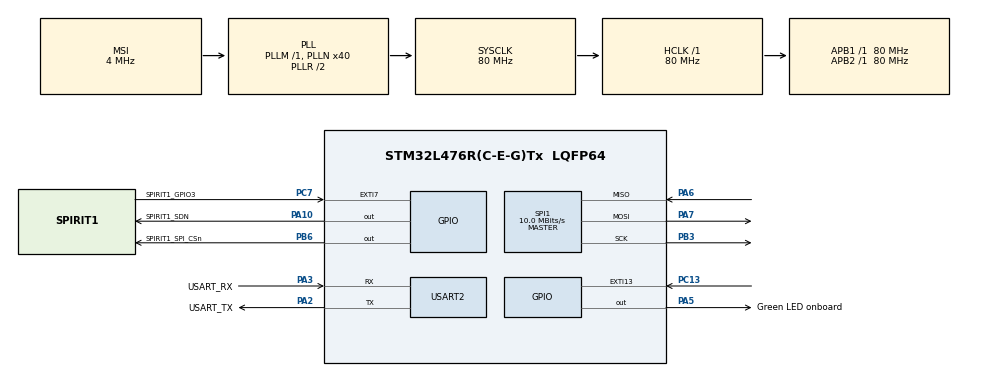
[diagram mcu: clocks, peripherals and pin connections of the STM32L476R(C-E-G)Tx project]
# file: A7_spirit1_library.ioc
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FREERTOS.Tasks01=defaultTask,24,128,StartDefaultTask,Default,NULL,Dynamic,NULL,NULL
FREERTOS.configENABLE_FPU=1
FREERTOS.configGENERATE_RUN_TIME_STATS=1
FREERTOS.configUSE_NEWLIB_REENTRANT=1
Mcu.Family=STM32L4
Mcu.Name=STM32L476R(C-E-G)Tx
Mcu.Package=LQFP64
NVIC.EXTI15_10_IRQn=true\:7\:0\:true\:false\:true\:true\:true\:true\:true
NVIC.EXTI9_5_IRQn=true\:6\:0\:true\:false\:true\:true\:true\:true\:true
NVIC.PriorityGroup=NVIC_PRIORITYGROUP_4
NVIC.TIM1_UP_TIM16_IRQn=true\:15\:0\:false\:false\:true\:false\:false\:true\:true
NVIC.TimeBase=TIM1_UP_TIM16_IRQn
NVIC.TimeBaseIP=TIM16
PA10.GPIO_Label=SPIRIT1_SDN
PA10.Signal=GPIO_Output
PA2.GPIO_Label=USART_TX
PA2.Mode=Asynchronous
PA2.Signal=USART2_TX
PA3.GPIO_Label=USART_RX
PA3.Mode=Asynchronous
PA3.Signal=USART2_RX
PA5.GPIO_Label=Green LED onboard
PA5.Signal=GPIO_Output
PA6.Mode=Full_Duplex_Master
PA6.Signal=SPI1_MISO
PA7.Mode=Full_Duplex_Master
PA7.Signal=SPI1_MOSI
PB3\ (JTDO-TRACESWO).Mode=Full_Duplex_Master
PB3\ (JTDO-TRACESWO).Signal=SPI1_SCK
PB6.GPIO_Label=SPIRIT1_SPI_CSn
PB6.Signal=GPIO_Output
PC13.Signal=GPXTI13
PC7.GPIO_Label=SPIRIT1_GPIO3
PC7.GPIO_ModeDefaultEXTI=GPIO_MODE_IT_FALLING
PC7.Signal=GPXTI7
ProjectManager.HeapSize=0x200
ProjectManager.StackSize=0x400
ProjectManager.TargetToolchain=STM32CubeIDE
RCC.AHBFreq_Value=80000000
RCC.APB1Freq_Value=80000000
RCC.APB1TimFreq_Value=80000000
RCC.APB2Freq_Value=80000000
RCC.APB2TimFreq_Value=80000000
RCC.CortexFreq_Value=80000000
RCC.HCLKFreq_Value=80000000
RCC.HSE_VALUE=8000000
RCC.HSI_VALUE=16000000
RCC.LSE_VALUE=32768
RCC.MSI_VALUE=4000000
RCC.PLLN=40
RCC.SYSCLKFreq_VALUE=80000000
RCC.SYSCLKSource=RCC_SYSCLKSOURCE_PLLCLK
RCC.VCOOutputFreq_Value=160000000
SPI1.BaudRatePrescaler=SPI_BAUDRATEPRESCALER_8
SPI1.CalculateBaudRate=10.0 MBits/s
SPI1.DataSize=SPI_DATASIZE_8BIT
SPI1.Direction=SPI_DIRECTION_2LINES
SPI1.Mode=SPI_MODE_MASTER
SPI1.VirtualType=VM_MASTER
USART2.VirtualMode-Asynchronous=VM_ASYNC
VP_FREERTOS_VS_CMSIS_V2.Mode=CMSIS_V2
VP_SYS_VS_tim16.Mode=TIM16
board=custom

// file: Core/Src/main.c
/* USER CODE BEGIN Header */
/**
  ******************************************************************************
  * @file           : main.c
  * @brief          : Main program body
  ******************************************************************************
  * @attention
  *
  * Copyright (c) 2024 STMicroelectronics.
  * All rights reserved.
  *
  * This software is licensed under terms that can be found in the LICENSE file
  * in the root directory of this software component.
  * If no LICENSE file comes with this software, it is provided AS-IS.
  *
  ******************************************************************************
  */
/* USER CODE END Header */
#include "main.h"
#include "cmsis_os.h"
#include "spi.h"
#include "usart.h"
#include "gpio.h"

/* USER CODE BEGIN Includes */
#include "SPIRIT_Config.h" // API code for the expansion board
#include "spsgrf.h" //init code for the wireless module
#include <stdlib.h>
#include <stdio.h>
#include <string.h>
#include <stdarg.h>

#include "semphr.h"                     // ARM.FreeRTOS::RTOS:Core

/* FREERTOS Tasks, Semaphores, and Variables  ------------------------------------*/
void Task_TX(void *argument);
void Task_printUsers(void *argument);
void Task_RX(void *argument);

TaskHandle_t Task_TXHandler, Task_printUsersHandler, Task_RXHandler;
SemaphoreHandle_t FLAG_SPIRIT;

void RTOS_ISR_setPriority(uint32_t IRQn){
	HAL_NVIC_SetPriorityGrouping(0);
	uint32_t lowPriority = NVIC_EncodePriority(0, 10, 0);
	//DMA1_Channel3_IRQn
	NVIC_SetPriority(IRQn, lowPriority);
}

typedef struct User{
	char username[20];
	unsigned int address;
	long timeLastSeen;
} User;

char myUsername[] = "kwiksckoped";
TickType_t startTime;

struct User usersOnline[256];

/* USER CODE END Includes */

void SystemClock_Config(void);
void MX_FREERTOS_Init(void);

/* USER CODE BEGIN 0 */

void myHAL_UART_printf(const char* format, ...) {
	va_list args;
	va_start(args, format);

	// Allocate temporary buffer for formatted string
	static char buffer[1024]; // Adjust buffer size as needed
	int formatted_length = vsnprintf(buffer, sizeof(buffer), format, args);

	// Check for potential buffer overflow (optional)
	if (formatted_length >= sizeof(buffer)) {
		// Handle buffer overflow (e.g., print error message)
		while(1);
	} else {
		// Print the formatted string
		HAL_UART_Transmit(&huart2, buffer, formatted_length, HAL_MAX_DELAY);
	}

	va_end(args);
}

void myHAL_UART_clear(){
	char clear[] = "\x1B[2J\x1B[0m\x1B[H"; // clear
	HAL_UART_Transmit(&huart2, clear, strlen(clear), 100);

}

volatile SpiritFlagStatus xTxDoneFlag;
volatile SpiritFlagStatus xRxDoneFlag;

void HAL_GPIO_EXTI_Callback(uint16_t GPIO_Pin)
{
  SpiritIrqs xIrqStatus;
  BaseType_t xHigherPriorityTaskWoken = pdFALSE;

  if (GPIO_Pin != SPIRIT1_GPIO3_Pin){return;}

  SpiritIrqGetStatus(&xIrqStatus);
//	myHAL_UART_printf("int\r\n");

  if (xIrqStatus.IRQ_TX_DATA_SENT)
  {
//		myHAL_UART_printf("data sent\r\n");
	  confirm_TX();
	  xSemaphoreGiveFromISR(FLAG_SPIRIT, &xHigherPriorityTaskWoken);
  }

  if (xIrqStatus.IRQ_RX_DATA_READY)
  {
//    xRxDoneFlag = S_SET;
	  myHAL_UART_printf("data received\r\n");

	  get_RX();
	  xSemaphoreGiveFromISR(FLAG_SPIRIT, &xHigherPriorityTaskWoken);
  }

  if (xIrqStatus.IRQ_RX_DATA_DISC)
  {
	myHAL_UART_printf("  | || || |_\r\n");
//	get_RX();
//    SpiritCmdStrobeRx();
  }

  if (xIrqStatus.IRQ_RX_TIMEOUT){
	myHAL_UART_printf("timeout\r\n");
//	xSemaphoreGiveFromISR(FLAG_SPIRIT, &xHigherPriorityTaskWoken);
//	SpiritCmdStrobeRx();
  }

  SpiritIrqClearStatus();
  portYIELD_FROM_ISR(xHigherPriorityTaskWoken);
}

//void receive(){
//	  char RXpayload[] = "Hello World!\r\n";
//	  uint8_t rxLen;
//
////	  char clear[] = "\x1B[2J\x1B[0m"; // clear
////
////		HAL_UART_Transmit(&huart2, clear, 9, 100);
//	//	HAL_UART_Transmit(&huart2, RXpayload, 20, 100);
//
//	  xRxDoneFlag = S_RESET;
//	  SPSGRF_StartRx();
//
//
//	  while (!xRxDoneFlag);
//
//
//	  uint8_t sadd;
//	  sadd = SpiritPktStackGetReceivedSourceAddress();
//
//	  usersOnline[sadd].timeLastSeen = xTaskGetTickCount();
//	  usersOnline[sadd].address = sadd;
//
//	  rxLen = SPSGRF_GetRxData(&RXpayload);
//
////	  myHAL_UART_clear();
//	  HAL_UART_Transmit(&huart2, "Received: ", 10, HAL_MAX_DELAY);
//	  HAL_UART_Transmit(&huart2, RXpayload, rxLen, HAL_MAX_DELAY);
//}
//
//
//void transmit(){
//	char TXpayload[] = "Beep beep bloop bloop\r\n";
//
//	// Send the payload
//    xTxDoneFlag = S_RESET;
//    SPSGRF_StartTx(TXpayload, strlen(TXpayload));
//    while(!xTxDoneFlag);
//
//    myHAL_UART_clear();
//    myHAL_UART_printf("payload sent: %s", TXpayload);
//}

void SpiritGotoReadyState(void) {
  static unsigned int i;
  /* Wait for the radio to enter the ready state */
  do {
    /* Go to the ready state */
    if (g_xStatus.MC_STATE == MC_STATE_LOCK) {
      SpiritCmdStrobeReady();
    } else {
      SpiritCmdStrobeSabort();
    }
    /* Delay for state transition */
    for (i = 0; i != 0xFF; i++)
      ;
    /* Update the global status register variable */
    SpiritRefreshStatus();
  } while (g_xStatus.MC_STATE != MC_STATE_READY);

  xSemaphoreGive(FLAG_SPIRIT);
}

//TX//////////////
char TXpayload[] = " Beep beep bloop bloop\r\n";

void confirm_TX(){
//    myHAL_UART_clear();
    myHAL_UART_printf("payload sent: %s", TXpayload);
}

void Task_TX(void *argument){
	  while (1)
	  {

		  SpiritGotoReadyState();

		  if(xSemaphoreTake(FLAG_SPIRIT, 10) == 1){
			TXpayload[0] = 0x3; //set heartbeat type
			SPSGRF_StartTx(TXpayload, strlen(TXpayload));
		  }

		  vTaskDelay(5000);

	  }
}

//USERS//////////////

void printUsersOnline(){
	TickType_t currentTime = xTaskGetTickCount();
	myHAL_UART_printf("--- Users Online @t=%d:\r\n", (currentTime-startTime)/1000);
	for (int i = 0; i < 256; i++){
		if (usersOnline[i].address != 0){
			myHAL_UART_printf("- 0x%x(%d) seen %d s ago\r\n", usersOnline[i].address, usersOnline[i].address, (currentTime - usersOnline[i].timeLastSeen)/1000);
		}
	}
}

void reapUsers(){
	TickType_t currentTime = xTaskGetTickCount();
	for (int i = 0; i < 256; i++){
		if ((usersOnline[i].address != 0)){
			if((currentTime-usersOnline[i].timeLastSeen)/1000 > 30){
				myHAL_UART_printf("reaping user 0x%x\r\n", usersOnline[i].address);
				usersOnline[i].address = 0;
				usersOnline[i].timeLastSeen = 0;
//				usersOnline[i].username = 0;

			}

		}
	}
}

void Task_printUsers(void *argument){
	while (1){
	  reapUsers();
	  printUsersOnline();
	  vTaskDelay(3500);
	}
}

//RX//////////////
void get_RX(){
	uint8_t sadd = SpiritPktStackGetReceivedSourceAddress();
	uint8_t RXpayload[100];
	RXpayload[0] = 0;
	RXpayload[1] = 0;
	RXpayload[2] = 0;
	RXpayload[3] = 0;
	RXpayload[4] = 0;
	RXpayload[5] = 0;

	usersOnline[sadd].timeLastSeen = xTaskGetTickCount();
	usersOnline[sadd].address = sadd;

	int rxLen = SPSGRF_GetRxData(&RXpayload);
	RXpayload[rxLen+1] = '\0';

//	myHAL_UART_clear();
	HAL_UART_Transmit(&huart2, "Received: ", 10, HAL_MAX_DELAY);
//	HAL_UART_Transmit(&huart2, RXpayload, rxLen+1, HAL_MAX_DELAY);
	myHAL_UART_printf("%02X:%02X:%02X:%02X from 0x%x", RXpayload[0], RXpayload[1], RXpayload[2], RXpayload[3], sadd);

	HAL_UART_Transmit(&huart2, "\r\n", 2, HAL_MAX_DELAY);

}

void printPacket(uint8_t * packet){
	//byte 0 - heart beat
	//byte 1-21 - another
	//byte 22-272 - another one
}

void Task_RX(void *argument){
	while(1){
		if(xSemaphoreTake(FLAG_SPIRIT, 10) == 1){
		  SPSGRF_StartRx();
		}
	}
}
/* USER CODE END 0 */

int main(void)
{

  /* MCU Configuration--------------------------------------------------------*/

  /* Reset of all peripherals, Initializes the Flash interface and the Systick. */
  HAL_Init();

  /* Configure the system clock */
  SystemClock_Config();

  /* USER CODE BEGIN SysInit */

  RTOS_ISR_setPriority(EXTI9_5_IRQn);

  /* Create the tasks */
  BaseType_t retVal = xTaskCreate(Task_TX, "Task_TX", configMINIMAL_STACK_SIZE,
  		NULL, tskIDLE_PRIORITY + 4, &Task_TXHandler);
  if (retVal != 1) { while(1);}	// check if task creation failed

  retVal = xTaskCreate(Task_printUsers, "Task_printUsers", configMINIMAL_STACK_SIZE,
  		NULL, tskIDLE_PRIORITY + 2, &Task_printUsersHandler);
  if (retVal != 1) { while(1);}	// check if task creation failed

  retVal = xTaskCreate(Task_RX, "Task_RX", configMINIMAL_STACK_SIZE,
  		NULL, tskIDLE_PRIORITY + 3, &Task_RXHandler);
  if (retVal != 1) { while(1);}	// check if task creation failed

  // Create Semaphores for task2 and task3
  FLAG_SPIRIT = xSemaphoreCreateBinary();
  if (FLAG_SPIRIT == NULL) { while(1); }

  /* USER CODE END SysInit */

  /* Initialize all configured peripherals */
  MX_GPIO_Init();
  MX_SPI1_Init();
  MX_USART2_UART_Init();

  /* USER CODE BEGIN 2 */
  startTime = xTaskGetTickCount();

  myHAL_UART_clear();
  myHAL_UART_printf("let's goooo");

  SPSGRF_Init();

  SpiritPktStackSetDestinationAddress(0xFF);

  xSemaphoreGive(FLAG_SPIRIT);

  /* USER CODE END 2 */

  /* Init scheduler */
//  osKernelInitialize();

  /* Call init function for freertos objects (in freertos.c) */
//  MX_FREERTOS_Init();

  /* Start scheduler */
//  osKernelStart();

  /* We should never get here as control is now taken by the scheduler */
  /* Infinite loop */
  /* USER CODE BEGIN WHILE */

//
//  while (1)
//  {
//	  transmit();
    /* USER CODE END WHILE */

    /* USER CODE BEGIN 3 */
//  }

  vTaskStartScheduler();

  /* USER CODE END 3 */
}

void SystemClock_Config(void)
{
  RCC_OscInitTypeDef RCC_OscInitStruct = {0};
  RCC_ClkInitTypeDef RCC_ClkInitStruct = {0};

  /** Configure the main internal regulator output voltage
  */
  if (HAL_PWREx_ControlVoltageScaling(PWR_REGULATOR_VOLTAGE_SCALE1) != HAL_OK)
  {
    Error_Handler();
  }

  /** Initializes the RCC Oscillators according to the specified parameters
  * in the RCC_OscInitTypeDef structure.
  */
  RCC_OscInitStruct.OscillatorType = RCC_OSCILLATORTYPE_MSI;
  RCC_OscInitStruct.MSIState = RCC_MSI_ON;
  RCC_OscInitStruct.MSICalibrationValue = 0;
  RCC_OscInitStruct.MSIClockRange = RCC_MSIRANGE_6;
  RCC_OscInitStruct.PLL.PLLState = RCC_PLL_ON;
  RCC_OscInitStruct.PLL.PLLSource = RCC_PLLSOURCE_MSI;
  RCC_OscInitStruct.PLL.PLLM = 1;
  RCC_OscInitStruct.PLL.PLLN = 40;
  RCC_OscInitStruct.PLL.PLLP = RCC_PLLP_DIV7;
  RCC_OscInitStruct.PLL.PLLQ = RCC_PLLQ_DIV2;
  RCC_OscInitStruct.PLL.PLLR = RCC_PLLR_DIV2;
  if (HAL_RCC_OscConfig(&RCC_OscInitStruct) != HAL_OK)
  {
    Error_Handler();
  }

  /** Initializes the CPU, AHB and APB buses clocks
  */
  RCC_ClkInitStruct.ClockType = RCC_CLOCKTYPE_HCLK|RCC_CLOCKTYPE_SYSCLK
                              |RCC_CLOCKTYPE_PCLK1|RCC_CLOCKTYPE_PCLK2;
  RCC_ClkInitStruct.SYSCLKSource = RCC_SYSCLKSOURCE_PLLCLK;
  RCC_ClkInitStruct.AHBCLKDivider = RCC_SYSCLK_DIV1;
  RCC_ClkInitStruct.APB1CLKDivider = RCC_HCLK_DIV1;
  RCC_ClkInitStruct.APB2CLKDivider = RCC_HCLK_DIV1;

  if (HAL_RCC_ClockConfig(&RCC_ClkInitStruct, FLASH_LATENCY_4) != HAL_OK)
  {
    Error_Handler();
  }
}

void HAL_TIM_PeriodElapsedCallback(TIM_HandleTypeDef *htim)
{
  if (htim->Instance == TIM16) {
    HAL_IncTick();
  }
}

void Error_Handler(void)
{
  __disable_irq();
  while (1)
  {
  }
}
